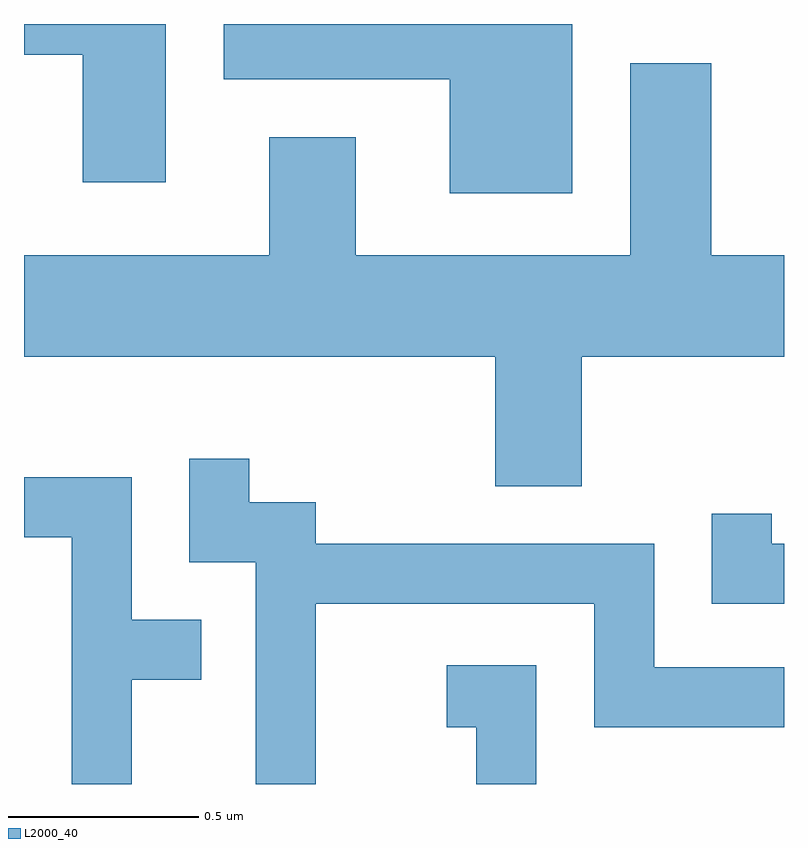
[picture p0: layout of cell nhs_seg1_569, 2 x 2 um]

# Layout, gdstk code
import gdstk
lib = gdstk.Library(unit=1e-6, precision=1e-09)
def P(c, l, *ps):  # polygons
    for p in ps: c.add(gdstk.Polygon(p, *l))
L2000_40 = (2000, 40)

nhs_seg1_569 = lib.new_cell('nhs_seg1_569')
P(nhs_seg1_569, L2000_40, [(189.984,862.712),(189.611,862.712),(189.611,862.631),(189.766,862.631),(189.766,862.296),(189.984,862.296)],
  [(191.054,862.712),(190.136,862.712),(190.136,862.566),(190.731,862.566),(190.731,862.266),(191.054,862.266)],
  [(191.079,861.836),(191.611,861.836),(191.611,862.104),(191.419,862.104),(191.419,862.609),(191.206,862.609),(191.206,862.104),(190.484,862.104),(190.484,862.414),(190.256,862.414),(190.256,862.104),(189.611,862.104),(189.611,861.836),(190.851,861.836),(190.851,861.496),(191.079,861.496)],
  [(190.379,861.186),(191.111,861.186),(191.111,860.861),(191.611,860.861),(191.611,861.019),(191.269,861.019),(191.269,861.344),(190.379,861.344),(190.379,861.454),(190.204,861.454),(190.204,861.568),(190.046,861.568),(190.046,861.296),(190.221,861.296),(190.221,860.712),(190.379,860.712)],
  [(189.894,860.986),(190.078,860.986),(190.078,861.144),(189.894,861.144),(189.894,861.519),(189.611,861.519),(189.611,861.361),(189.736,861.361),(189.736,860.712),(189.894,860.712)],
  [(191.611,861.344),(191.579,861.344),(191.579,861.423),(191.421,861.423),(191.421,861.186),(191.611,861.186)],
  [(190.959,861.024),(190.723,861.024),(190.723,860.861),(190.801,860.861),(190.801,860.712),(190.959,860.712)])

lib.write_gds('nhs_seg1_569.gds')
